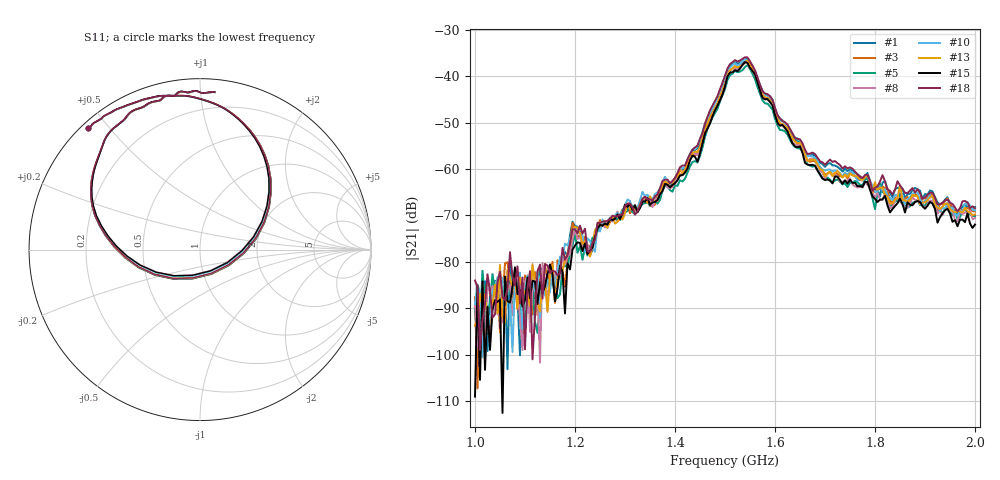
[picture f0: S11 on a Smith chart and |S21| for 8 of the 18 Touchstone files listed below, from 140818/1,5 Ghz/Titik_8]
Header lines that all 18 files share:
# Hz S RI R 50
! CMT, C1220, 16058040, 17.2.0/1
! Data: Format (Calibration Info)
! Freq  S11: Re/Im (F2)  S21: Re/Im (F2)  S12: Re/Im (F2)  S22: Re/Im (F2)
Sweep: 1 GHz to 2 GHz
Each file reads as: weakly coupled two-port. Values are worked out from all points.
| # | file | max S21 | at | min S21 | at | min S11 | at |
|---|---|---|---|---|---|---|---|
| 1 | Sudut_20_Titik_8.s2p | -36.26 dB | 1.545 GHz | -103.1 dB | 1.065 GHz | -16.1 dB | 1.53 GHz |
| 2 | Sudut_30_Titik_8.s2p | -36.48 dB | 1.545 GHz | -98.1 dB | 1.11 GHz | -16.0 dB | 1.53 GHz |
| 3 | Sudut_40_Titik_8.s2p | -36.89 dB | 1.545 GHz | -107.3 dB | 1.005 GHz | -16.0 dB | 1.53 GHz |
| 4 | Sudut_50_Titik_8.s2p | -37.22 dB | 1.545 GHz | -100.7 dB | 1.005 GHz | -16.0 dB | 1.53 GHz |
| 5 | Sudut_60_Titik_8.s2p | -37.60 dB | 1.545 GHz | -97.2 dB | 1.005 GHz | -16.0 dB | 1.53 GHz |
| 6 | Sudut_90_Titik_8.s2p | -38.07 dB | 1.545 GHz | -116.2 dB | 1.03 GHz | -16.4 dB | 1.53 GHz |
| 7 | Sudut_140_Titik_8.s2p | -37.47 dB | 1.54 GHz | -105.6 dB | 1.02 GHz | -17.3 dB | 1.53 GHz |
| 8 | Sudut_150_Titik_8.s2p | -36.99 dB | 1.54 GHz | -101.7 dB | 1.13 GHz | -17.3 dB | 1.53 GHz |
| 9 | Sudut_160_Titik_8.s2p | -36.68 dB | 1.54 GHz | -93.9 dB | 1 GHz | -17.1 dB | 1.53 GHz |
| 10 | Sudut_170_Titik_8.s2p | -36.49 dB | 1.54 GHz | -100.6 dB | 1.015 GHz | -16.9 dB | 1.53 GHz |
| 11 | Sudut_190_Titik_8.s2p | -35.74 dB | 1.54 GHz | -97.6 dB | 1.075 GHz | -16.4 dB | 1.53 GHz |
| 12 | Sudut_200_Titik_8.s2p | -35.85 dB | 1.545 GHz | -94.5 dB | 1.09 GHz | -16.2 dB | 1.53 GHz |
| 13 | Sudut_240_Titik_8.s2p | -36.70 dB | 1.545 GHz | -96.6 dB | 1.03 GHz | -16.2 dB | 1.53 GHz |
| 14 | Sudut_260_Titik_8.s2p | -37.33 dB | 1.545 GHz | -99.5 dB | 1.09 GHz | -16.7 dB | 1.53 GHz |
| 15 | Sudut_290_Titik_8.s2p | -36.97 dB | 1.54 GHz | -112.5 dB | 1.055 GHz | -17.2 dB | 1.53 GHz |
| 16 | Sudut_300_Titik_8.s2p | -36.94 dB | 1.54 GHz | -114.5 dB | 1.09 GHz | -17.1 dB | 1.53 GHz |
| 17 | Sudut_310_Titik_8.s2p | -36.68 dB | 1.54 GHz | -106.3 dB | 1.06 GHz | -17.0 dB | 1.53 GHz |
| 18 | Sudut_360_Titik_8.s2p | -35.93 dB | 1.54 GHz | -101.0 dB | 1.115 GHz | -16.3 dB | 1.53 GHz |
